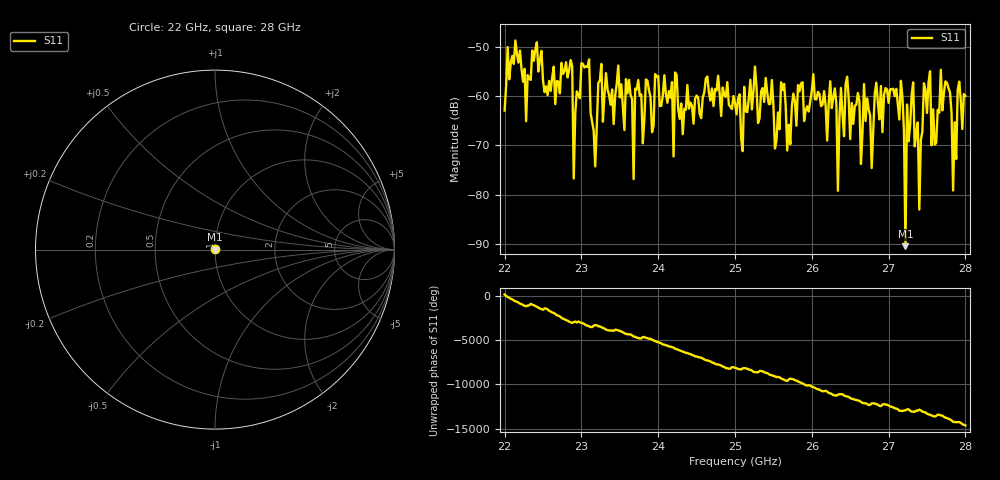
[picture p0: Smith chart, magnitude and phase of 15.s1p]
#  HZ  S  RI  R  50.00
! Rohde & Schwarz ZVA40 4Ports - Version 3.90 - 1145.1110k42 SN: 100403
! Date: 2023-10-04 11:40:04
! Measurement: S12
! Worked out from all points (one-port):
!   301 points, 22 GHz to 28 GHz, reference 50 ohm
!   lowest |S11| = -90.5 dB at 27.22 GHz (marker M1), VSWR 1.00, Z = 50 + j0.00138 ohm
!   |S11| at or under -10 dB: start of sweep to end of sweep
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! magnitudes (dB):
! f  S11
! 22 GHz  -63.0
! 22.76 GHz  -55.6
! 22.88 GHz  -53.9
! 22.9 GHz  -76.8
! 23 GHz  -53.3
! 23.18 GHz  -74.3
! 23.26 GHz  -53.5
! 23.5 GHz  -60.3
! 23.62 GHz  -56.7
! 23.68 GHz  -76.9
! 23.74 GHz  -56.8
! 24.26 GHz  -62.6
! 25 GHz  -61.5
! 25.76 GHz  -59.5
! 26.5 GHz  -68.7
! 27.16 GHz  -56.9
! 27.22 GHz  -90.5
! 27.24 GHz  -61.7
! 27.26 GHz  -69.2
! 27.32 GHz  -57.2
! 27.4 GHz  -83.1
! 27.46 GHz  -57.4
! 27.6 GHz  -69.9
! 27.68 GHz  -54.7
! 27.8 GHz  -59.3
! 27.84 GHz  -79.2
! 27.9 GHz  -58.8
! 28 GHz  -60.0
